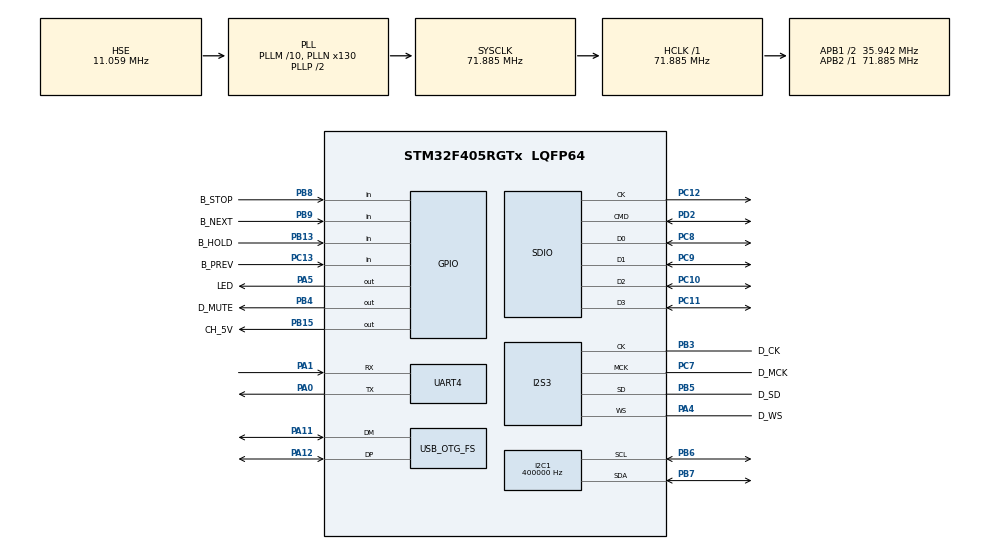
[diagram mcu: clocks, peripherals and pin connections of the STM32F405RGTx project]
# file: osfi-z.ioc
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Dma.I2C1_TX.0.Direction=DMA_MEMORY_TO_PERIPH
Dma.I2C1_TX.0.FIFOMode=DMA_FIFOMODE_DISABLE
Dma.I2C1_TX.0.Instance=DMA1_Stream6
Dma.I2C1_TX.0.MemDataAlignment=DMA_MDATAALIGN_BYTE
Dma.I2C1_TX.0.MemInc=DMA_MINC_ENABLE
Dma.I2C1_TX.0.Mode=DMA_NORMAL
Dma.I2C1_TX.0.PeriphDataAlignment=DMA_PDATAALIGN_BYTE
Dma.I2C1_TX.0.PeriphInc=DMA_PINC_DISABLE
Dma.I2C1_TX.0.Priority=DMA_PRIORITY_MEDIUM
Dma.Request0=I2C1_TX
Dma.Request1=SPI3_TX
Dma.SPI3_TX.1.Direction=DMA_MEMORY_TO_PERIPH
Dma.SPI3_TX.1.FIFOMode=DMA_FIFOMODE_ENABLE
Dma.SPI3_TX.1.FIFOThreshold=DMA_FIFO_THRESHOLD_FULL
Dma.SPI3_TX.1.Instance=DMA1_Stream5
Dma.SPI3_TX.1.MemBurst=DMA_MBURST_SINGLE
Dma.SPI3_TX.1.MemDataAlignment=DMA_MDATAALIGN_HALFWORD
Dma.SPI3_TX.1.MemInc=DMA_MINC_ENABLE
Dma.SPI3_TX.1.Mode=DMA_CIRCULAR
Dma.SPI3_TX.1.PeriphBurst=DMA_PBURST_SINGLE
Dma.SPI3_TX.1.PeriphDataAlignment=DMA_PDATAALIGN_HALFWORD
Dma.SPI3_TX.1.PeriphInc=DMA_PINC_DISABLE
Dma.SPI3_TX.1.Priority=DMA_PRIORITY_VERY_HIGH
FREERTOS.Tasks01=defaultTask,0,2048,StartDefaultTask,Default,NULL,Dynamic,NULL,NULL;guiThread,-3,2048,guiStart,Default,NULL,Dynamic,NULL,NULL
FREERTOS.configMINIMAL_STACK_SIZE=512
FREERTOS.configTOTAL_HEAP_SIZE=20000
FREERTOS.configUSE_COUNTING_SEMAPHORES=1
I2C1.ClockSpeed=400000
I2C1.I2C_Mode=I2C_Fast
I2S3.AudioFreq=I2S_AUDIOFREQ_48K
I2S3.ErrorAudioFreq=-0.1 %
I2S3.FullDuplexMode=I2S_FULLDUPLEXMODE_DISABLE
I2S3.Instance=SPI$Index
I2S3.RealAudioFreq=47.952 KHz
I2S3.VirtualMode=I2S_MODE_MASTER
Mcu.Family=STM32F4
Mcu.Name=STM32F405RGTx
Mcu.Package=LQFP64
NVIC.DMA1_Stream5_IRQn=true\:5\:0\:false\:false\:true\:true
NVIC.DMA1_Stream6_IRQn=true\:5\:0\:false\:false\:true\:true
NVIC.I2C1_ER_IRQn=true\:5\:0\:false\:false\:true\:true
NVIC.I2C1_EV_IRQn=true\:5\:0\:false\:false\:true\:true
NVIC.PriorityGroup=NVIC_PRIORITYGROUP_4
NVIC.SDIO_IRQn=true\:5\:0\:false\:false\:true\:true
NVIC.SPI3_IRQn=true\:5\:0\:false\:false\:true\:true
NVIC.TIM8_TRG_COM_TIM14_IRQn=true\:0\:0\:false\:false\:true\:false
NVIC.TimeBase=TIM8_TRG_COM_TIM14_IRQn
NVIC.TimeBaseIP=TIM14
PA0-WKUP.Mode=Asynchronous
PA0-WKUP.Signal=UART4_TX
PA1.Mode=Asynchronous
PA1.Signal=UART4_RX
PA11.Mode=Device_Only
PA11.Signal=USB_OTG_FS_DM
PA12.Mode=Device_Only
PA12.Signal=USB_OTG_FS_DP
PA13.Mode=Serial_Wire
PA13.Signal=SYS_JTMS-SWDIO
PA14.Mode=Serial_Wire
PA14.Signal=SYS_JTCK-SWCLK
PA4.GPIO_Label=D_WS
PA4.Mode=Half_Duplex_Master
PA4.Signal=I2S3_WS
PA5.GPIO_Label=LED
PA5.Signal=GPIO_Output
PB13.GPIO_Label=B_HOLD
PB13.GPIO_PuPd=GPIO_PULLUP
PB13.Signal=GPIO_Input
PB15.GPIO_Label=CH_5V
PB15.Signal=GPIO_Output
PB3.GPIO_Label=D_CK
PB3.Mode=Half_Duplex_Master
PB3.Signal=I2S3_CK
PB4.GPIO_Label=D_MUTE
PB4.Signal=GPIO_Output
PB5.GPIO_Label=D_SD
PB5.Mode=Half_Duplex_Master
PB5.Signal=I2S3_SD
PB6.Mode=I2C
PB6.Signal=I2C1_SCL
PB7.Mode=I2C
PB7.Signal=I2C1_SDA
PB8.GPIO_Label=B_STOP
PB8.GPIO_PuPd=GPIO_PULLUP
PB8.Signal=GPIO_Input
PB9.GPIO_Label=B_NEXT
PB9.GPIO_PuPd=GPIO_PULLUP
PB9.Signal=GPIO_Input
PC10.GPIO_PuPd=GPIO_PULLUP
PC10.Mode=SD_4_bits_Wide_bus
PC10.Signal=SDIO_D2
PC11.GPIO_PuPd=GPIO_PULLUP
PC11.Mode=SD_4_bits_Wide_bus
PC11.Signal=SDIO_D3
PC12.GPIO_PuPd=GPIO_PULLUP
PC12.Mode=SD_4_bits_Wide_bus
PC12.Signal=SDIO_CK
PC13-ANTI_TAMP.GPIO_Label=B_PREV
PC13-ANTI_TAMP.GPIO_PuPd=GPIO_PULLUP
PC13-ANTI_TAMP.Signal=GPIO_Input
PC6.Signal=USART6_TX
PC7.GPIO_Label=D_MCK
PC7.Mode=Master_Clock_Activated
PC7.Signal=I2S3_MCK
PC8.GPIO_PuPd=GPIO_PULLUP
PC8.Mode=SD_4_bits_Wide_bus
PC8.Signal=SDIO_D0
PC9.GPIO_PuPd=GPIO_PULLUP
PC9.Mode=SD_4_bits_Wide_bus
PC9.Signal=SDIO_D1
PD2.GPIO_PuPd=GPIO_PULLUP
PD2.Mode=SD_4_bits_Wide_bus
PD2.Signal=SDIO_CMD
PH0-OSC_IN.Mode=HSE-External-Oscillator
PH0-OSC_IN.Signal=RCC_OSC_IN
PH1-OSC_OUT.Mode=HSE-External-Oscillator
PH1-OSC_OUT.Signal=RCC_OSC_OUT
ProjectManager.HeapSize=0x2000
ProjectManager.StackSize=0x4000
ProjectManager.TargetToolchain=SW4STM32
RCC.48MHZClocksFreq_Value=47923200
RCC.AHBFreq_Value=71884800
RCC.APB1CLKDivider=RCC_HCLK_DIV2
RCC.APB1Freq_Value=35942400
RCC.APB1TimFreq_Value=71884800
RCC.APB2Freq_Value=71884800
RCC.APB2TimFreq_Value=71884800
RCC.CortexFreq_Value=71884800
RCC.HCLKFreq_Value=71884800
RCC.HSE_VALUE=11059200
RCC.HSI_VALUE=16000000
RCC.LSE_VALUE=32768
RCC.PLLI2SN=222
RCC.PLLI2SR=5
RCC.PLLM=10
RCC.PLLN=130
RCC.PLLQ=3
RCC.SYSCLKFreq_VALUE=71884800
RCC.SYSCLKSource=RCC_SYSCLKSOURCE_PLLCLK
RCC.VCOOutputFreq_Value=143769600
SDIO.ClockDiv=4
UART4.VirtualMode=Asynchronous
USB_OTG_FS.VirtualMode=Device_Only
VP_FREERTOS_VS_ENABLE.Mode=Enabled
VP_SYS_VS_tim14.Mode=TIM14
board=osfi-z

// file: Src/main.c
/**
  ******************************************************************************
  * File Name          : main.c
  * Description        : Main program body
  ******************************************************************************
  *
  * Copyright (c) 2017 STMicroelectronics International N.V.
  * All rights reserved.
  *
  * Redistribution and use in source and binary forms, with or without
  * modification, are permitted, provided that the following conditions are met:
  *
  * 1. Redistribution of source code must retain the above copyright notice,
  *    this list of conditions and the following disclaimer.
  * 2. Redistributions in binary form must reproduce the above copyright notice,
  *    this list of conditions and the following disclaimer in the documentation
  *    and/or other materials provided with the distribution.
  * 3. Neither the name of STMicroelectronics nor the names of other
  *    contributors to this software may be used to endorse or promote products
  *    derived from this software without specific written permission.
  * 4. This software, including modifications and/or derivative works of this
  *    software, must execute solely and exclusively on microcontroller or
  *    microprocessor devices manufactured by or for STMicroelectronics.
  * 5. Redistribution and use of this software other than as permitted under
  *    this license is void and will automatically terminate your rights under
  *    this license.
  *
  * THIS SOFTWARE IS PROVIDED BY STMICROELECTRONICS AND CONTRIBUTORS "AS IS"
  * AND ANY EXPRESS, IMPLIED OR STATUTORY WARRANTIES, INCLUDING, BUT NOT
  * LIMITED TO, THE IMPLIED WARRANTIES OF MERCHANTABILITY, FITNESS FOR A
  * PARTICULAR PURPOSE AND NON-INFRINGEMENT OF THIRD PARTY INTELLECTUAL PROPERTY
  * RIGHTS ARE DISCLAIMED TO THE FULLEST EXTENT PERMITTED BY LAW. IN NO EVENT
  * SHALL STMICROELECTRONICS OR CONTRIBUTORS BE LIABLE FOR ANY DIRECT, INDIRECT,
  * INCIDENTAL, SPECIAL, EXEMPLARY, OR CONSEQUENTIAL DAMAGES (INCLUDING, BUT NOT
  * LIMITED TO, PROCUREMENT OF SUBSTITUTE GOODS OR SERVICES; LOSS OF USE, DATA,
  * OR PROFITS; OR BUSINESS INTERRUPTION) HOWEVER CAUSED AND ON ANY THEORY OF
  * LIABILITY, WHETHER IN CONTRACT, STRICT LIABILITY, OR TORT (INCLUDING
  * NEGLIGENCE OR OTHERWISE) ARISING IN ANY WAY OUT OF THE USE OF THIS SOFTWARE,
  * EVEN IF ADVISED OF THE POSSIBILITY OF SUCH DAMAGE.
  *
  ******************************************************************************
  */
#include "main.h"
#include "stm32f4xx_hal.h"
#include "cmsis_os.h"
#include "dma.h"
#include "i2c.h"
#include "i2s.h"
#include "sdio.h"
#include "usart.h"
#include "usb_otg.h"
#include "gpio.h"

/* USER CODE BEGIN Includes */
#include "fatfs.h"
#include "string.h"
#include "gui.h"
/* USER CODE END Includes */

/* USER CODE BEGIN PV */
/* Private variables ---------------------------------------------------------*/

/* USER CODE END PV */

void SystemClock_Config(void);
void Error_Handler(void);
void MX_FREERTOS_Init(void);

/* USER CODE BEGIN PFP */
/* Private function prototypes -----------------------------------------------*/

/* USER CODE END PFP */

int main(void)
{

  /* MCU Configuration----------------------------------------------------------*/

  /* Reset of all peripherals, Initializes the Flash interface and the Systick. */
  HAL_Init();

  /* Configure the system clock */
  SystemClock_Config();

  /* Initialize all configured peripherals */
  MX_GPIO_Init();
  MX_DMA_Init();
  MX_SDIO_SD_Init();
  MX_I2S3_Init();
  MX_USB_OTG_FS_PCD_Init();
  MX_UART4_Init();
  MX_I2C1_Init();

  /* USER CODE BEGIN 2 */
  HAL_GPIO_WritePin(LED_GPIO_Port, LED_Pin, GPIO_PIN_SET);
  MX_FATFS_Init();
  printf("\n-----\nstart...\n");
  /* USER CODE END 2 */

  /* Call init function for freertos objects (in freertos.c) */
  MX_FREERTOS_Init();

  /* Start scheduler */
  osKernelStart();

  /* We should never get here as control is now taken by the scheduler */

  /* Infinite loop */
  /* USER CODE BEGIN WHILE */
    while (1)
    {
	HAL_GPIO_WritePin(LED_GPIO_Port, LED_Pin, GPIO_PIN_SET);
	HAL_Delay(100);
	HAL_GPIO_WritePin(LED_GPIO_Port, LED_Pin, GPIO_PIN_RESET);
	HAL_Delay(100);
  /* USER CODE END WHILE */

    }

}

/** System Clock Configuration
*/
void SystemClock_Config(void)
{

  RCC_OscInitTypeDef RCC_OscInitStruct;
  RCC_ClkInitTypeDef RCC_ClkInitStruct;
  RCC_PeriphCLKInitTypeDef PeriphClkInitStruct;

    /**Configure the main internal regulator output voltage
    */
  __HAL_RCC_PWR_CLK_ENABLE();

  __HAL_PWR_VOLTAGESCALING_CONFIG(PWR_REGULATOR_VOLTAGE_SCALE1);

    /**Initializes the CPU, AHB and APB busses clocks
    */
  RCC_OscInitStruct.OscillatorType = RCC_OSCILLATORTYPE_HSE;
  RCC_OscInitStruct.HSEState = RCC_HSE_ON;
  RCC_OscInitStruct.PLL.PLLState = RCC_PLL_ON;
  RCC_OscInitStruct.PLL.PLLSource = RCC_PLLSOURCE_HSE;
  RCC_OscInitStruct.PLL.PLLM = 10;
  RCC_OscInitStruct.PLL.PLLN = 130;
  RCC_OscInitStruct.PLL.PLLP = RCC_PLLP_DIV2;
  RCC_OscInitStruct.PLL.PLLQ = 3;
  if (HAL_RCC_OscConfig(&RCC_OscInitStruct) != HAL_OK)
  {
    Error_Handler();
  }

    /**Initializes the CPU, AHB and APB busses clocks
    */
  RCC_ClkInitStruct.ClockType = RCC_CLOCKTYPE_HCLK|RCC_CLOCKTYPE_SYSCLK
                              |RCC_CLOCKTYPE_PCLK1|RCC_CLOCKTYPE_PCLK2;
  RCC_ClkInitStruct.SYSCLKSource = RCC_SYSCLKSOURCE_PLLCLK;
  RCC_ClkInitStruct.AHBCLKDivider = RCC_SYSCLK_DIV1;
  RCC_ClkInitStruct.APB1CLKDivider = RCC_HCLK_DIV2;
  RCC_ClkInitStruct.APB2CLKDivider = RCC_HCLK_DIV1;

  if (HAL_RCC_ClockConfig(&RCC_ClkInitStruct, FLASH_LATENCY_2) != HAL_OK)
  {
    Error_Handler();
  }

  PeriphClkInitStruct.PeriphClockSelection = RCC_PERIPHCLK_I2S;
  PeriphClkInitStruct.PLLI2S.PLLI2SN = 222;
  PeriphClkInitStruct.PLLI2S.PLLI2SR = 5;
  if (HAL_RCCEx_PeriphCLKConfig(&PeriphClkInitStruct) != HAL_OK)
  {
    Error_Handler();
  }

    /**Configure the Systick interrupt time
    */
  HAL_SYSTICK_Config(HAL_RCC_GetHCLKFreq()/1000);

    /**Configure the Systick
    */
  HAL_SYSTICK_CLKSourceConfig(SYSTICK_CLKSOURCE_HCLK);

  /* SysTick_IRQn interrupt configuration */
  HAL_NVIC_SetPriority(SysTick_IRQn, 15, 0);
}

void HAL_TIM_PeriodElapsedCallback(TIM_HandleTypeDef *htim)
{
  if (htim->Instance == TIM14) {
    HAL_IncTick();
  }
}

void Error_Handler(void)
{
    while(1)
    {
    }
}

/************************ (C) COPYRIGHT STMicroelectronics *****END OF FILE****/

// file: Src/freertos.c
/**
  ******************************************************************************
  * File Name          : freertos.c
  * Description        : Code for freertos applications
  ******************************************************************************
  *
  * Copyright (c) 2017 STMicroelectronics International N.V.
  * All rights reserved.
  *
  * Redistribution and use in source and binary forms, with or without
  * modification, are permitted, provided that the following conditions are met:
  *
  * 1. Redistribution of source code must retain the above copyright notice,
  *    this list of conditions and the following disclaimer.
  * 2. Redistributions in binary form must reproduce the above copyright notice,
  *    this list of conditions and the following disclaimer in the documentation
  *    and/or other materials provided with the distribution.
  * 3. Neither the name of STMicroelectronics nor the names of other
  *    contributors to this software may be used to endorse or promote products
  *    derived from this software without specific written permission.
  * 4. This software, including modifications and/or derivative works of this
  *    software, must execute solely and exclusively on microcontroller or
  *    microprocessor devices manufactured by or for STMicroelectronics.
  * 5. Redistribution and use of this software other than as permitted under
  *    this license is void and will automatically terminate your rights under
  *    this license.
  *
  * THIS SOFTWARE IS PROVIDED BY STMICROELECTRONICS AND CONTRIBUTORS "AS IS"
  * AND ANY EXPRESS, IMPLIED OR STATUTORY WARRANTIES, INCLUDING, BUT NOT
  * LIMITED TO, THE IMPLIED WARRANTIES OF MERCHANTABILITY, FITNESS FOR A
  * PARTICULAR PURPOSE AND NON-INFRINGEMENT OF THIRD PARTY INTELLECTUAL PROPERTY
  * RIGHTS ARE DISCLAIMED TO THE FULLEST EXTENT PERMITTED BY LAW. IN NO EVENT
  * SHALL STMICROELECTRONICS OR CONTRIBUTORS BE LIABLE FOR ANY DIRECT, INDIRECT,
  * INCIDENTAL, SPECIAL, EXEMPLARY, OR CONSEQUENTIAL DAMAGES (INCLUDING, BUT NOT
  * LIMITED TO, PROCUREMENT OF SUBSTITUTE GOODS OR SERVICES; LOSS OF USE, DATA,
  * OR PROFITS; OR BUSINESS INTERRUPTION) HOWEVER CAUSED AND ON ANY THEORY OF
  * LIABILITY, WHETHER IN CONTRACT, STRICT LIABILITY, OR TORT (INCLUDING
  * NEGLIGENCE OR OTHERWISE) ARISING IN ANY WAY OUT OF THE USE OF THIS SOFTWARE,
  * EVEN IF ADVISED OF THE POSSIBILITY OF SUCH DAMAGE.
  *
  ******************************************************************************
  */

#include "FreeRTOS.h"
#include "task.h"
#include "cmsis_os.h"

/* USER CODE BEGIN Includes */
#include "i2s.h"
#include "sdio.h"
#include "usart.h"
#include "gpio.h"
#include "fatfs.h"
#include "string.h"
#include "gui.h"
#include "gui_controls.h"
#include "fm.h"
/* USER CODE END Includes */

osThreadId defaultTaskHandle;
osThreadId guiThreadHandle;

/* USER CODE BEGIN Variables */
extern int dmain();
extern char _plug_start[];
extern char _plug_end[];
/* USER CODE END Variables */

void StartDefaultTask(void const * argument);
void guiStart(void const * argument);

void MX_FREERTOS_Init(void); /* (MISRA C 2004 rule 8.1) */

/* USER CODE BEGIN FunctionPrototypes */
FATFS fileSystem;
static char* err_msg = 0;
static MLable err_labl;
static void init_error() //show error message with required err_msg
{
    gui_init();
    m_create_lable(&err_labl,
    		   host->host,
    		   mp_sall(0, 0, 20, 0), err_msg,
    		   MDTextPlacement_LeftUp,
    		   &ts_textfield);

    SSD1306_UpdateScreen(mGui);
}
void start_warble()
{
    osThreadDef(defaultTask, StartDefaultTask, osPriorityNormal, 0, 2048);
    defaultTaskHandle = osThreadCreate(osThread(defaultTask), NULL);
}
/* USER CODE END FunctionPrototypes */

/* Hook prototypes */

/* Init FreeRTOS */

void MX_FREERTOS_Init(void) {

  /* Create the thread(s) */
  /* definition and creation of defaultTask */

  /* definition and creation of guiThread */
  osThreadDef(guiThread, guiStart, osPriorityIdle, 0, 2048);
  guiThreadHandle = osThreadCreate(osThread(guiThread), NULL);

}

/* StartDefaultTask function */
void StartDefaultTask(void const * argument)
{

  /* USER CODE BEGIN StartDefaultTask */
    printf("addr: %lx - %lx\n", _plug_start, _plug_end);

    HAL_GPIO_WritePin(D_MUTE_GPIO_Port, D_MUTE_Pin, GPIO_PIN_SET);
    dmain();

    /* Infinite loop */
    for(;;)
    {
	osDelay(1);
    }
  /* USER CODE END StartDefaultTask */
}

/* guiStart function */
void guiStart(void const * argument)
{
  /* USER CODE BEGIN guiStart */
    FRESULT res;
    if((res = f_mount(&fileSystem, SD_Path, 1)) == FR_OK)
    {
    	printf("SD CARD OK\n");
    }
    else
    {
    	printf("no sd %d\n", res);
	err_msg = "NO SD!!!";
	init_error();
	return;
    }

    gui_init();
    gui_controls_init();
    fm_init();
    SSD1306_UpdateScreen(mGui);
    /* Infinite loop */
    for(;;)
    {
	gui_controls_update();
	xSemaphoreTake(SSD1306_semaphore, portMAX_DELAY);
	ssd1306_send();
	ssd1306_render();
    }
  /* USER CODE END guiStart */
}

/************************ (C) COPYRIGHT STMicroelectronics *****END OF FILE****/
